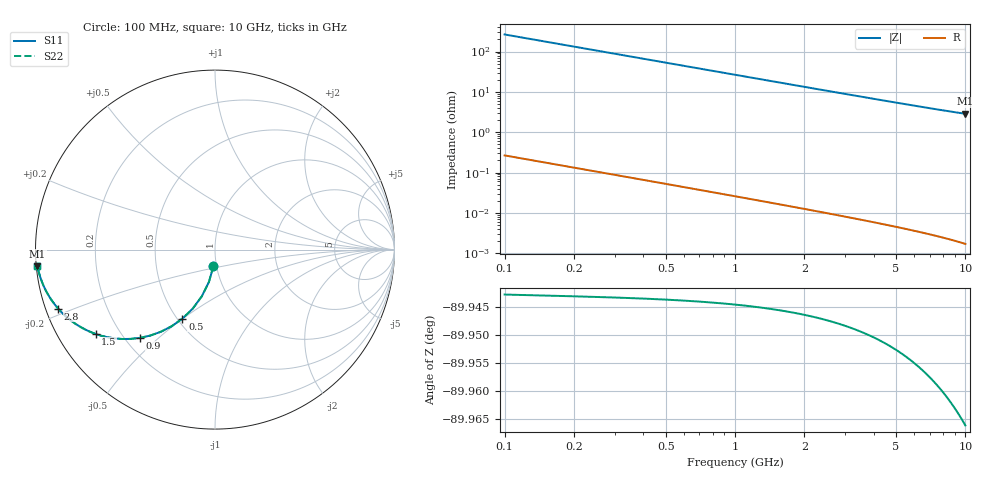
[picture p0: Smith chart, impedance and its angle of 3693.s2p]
# Hz S RI R 50.00
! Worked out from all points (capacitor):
!   100 points, 100 MHz to 10 GHz, reference 50 ohm
!   read as one part in shunt: C = 5.98 pF near 100 MHz
!   lowest |Z| = 2.86 ohm at 10 GHz (marker M1)
!   S11 on the Smith chart (normalised r, x): 100 MHz: 0.97, -0.18; 500 MHz: 0.53, -0.50; 900 MHz: 0.26, -0.44; 1.5 GHz: 0.11, -0.31; 2.8 GHz: 0.04, -0.18; 10 GHz: 0.00, -0.05
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1e8  -0.00881 -0.0931  0.9911 -0.0933  0.9911 -0.0933  -0.00881 -0.0931
2e8  -0.0343 -0.1813  0.9656 -0.1817  0.9656 -0.1817  -0.0343 -0.1813
3e8  -0.0738 -0.2608  0.9261 -0.2614  0.9261 -0.2614  -0.0738 -0.2608
4e8  -0.1241 -0.3288  0.8759 -0.3296  0.8759 -0.3296  -0.1241 -0.3288
5e8  -0.1811 -0.3842  0.8188 -0.3851  0.8188 -0.3851  -0.1811 -0.3842
6e8  -0.2415 -0.4269  0.7584 -0.4281  0.7584 -0.4281  -0.2415 -0.4269
7e8  -0.3022 -0.4581  0.6977 -0.4594  0.6977 -0.4594  -0.3022 -0.4581
8e8  -0.3613 -0.4791  0.6386 -0.4807  0.6386 -0.4807  -0.3613 -0.4791
9e8  -0.4171 -0.4917  0.5828 -0.4935  0.5828 -0.4935  -0.4171 -0.4917
1e9  -0.469 -0.4975  0.5309 -0.4995  0.5309 -0.4995  -0.469 -0.4975
1.2e9  -0.5598 -0.4947  0.4401 -0.4971  0.4401 -0.4971  -0.5598 -0.4947
1.5e9  -0.6651 -0.4699  0.3348 -0.4729  0.3348 -0.4729  -0.6651 -0.4699
1.8e9  -0.7408 -0.4358  0.2591 -0.4394  0.2591 -0.4394  -0.7408 -0.4358
2e9  -0.7792 -0.4123  0.2207 -0.4162  0.2207 -0.4162  -0.7792 -0.4123
2.3e9  -0.8235 -0.3784  0.1764 -0.383  0.1764 -0.383  -0.8235 -0.3784
2.8e9  -0.8736 -0.3289  0.1262 -0.3345  0.1262 -0.3345  -0.8736 -0.3289
3.4e9  -0.9107 -0.2812  0.0892 -0.288  0.0892 -0.288  -0.9107 -0.2812
4.2e9  -0.9396 -0.2333  0.0602 -0.2417  0.0602 -0.2417  -0.9396 -0.2333
5.1e9  -0.9583 -0.194  0.0415 -0.2043  0.0415 -0.2043  -0.9583 -0.194
6.7e9  -0.9755 -0.1468  0.0243 -0.1605  0.0243 -0.1605  -0.9755 -0.1468
8.4e9  -0.9844 -0.1142  0.0153 -0.1315  0.0153 -0.1315  -0.9844 -0.1142
1e10  -0.989 -0.0924  0.0107 -0.1133  0.0107 -0.1133  -0.989 -0.0924
